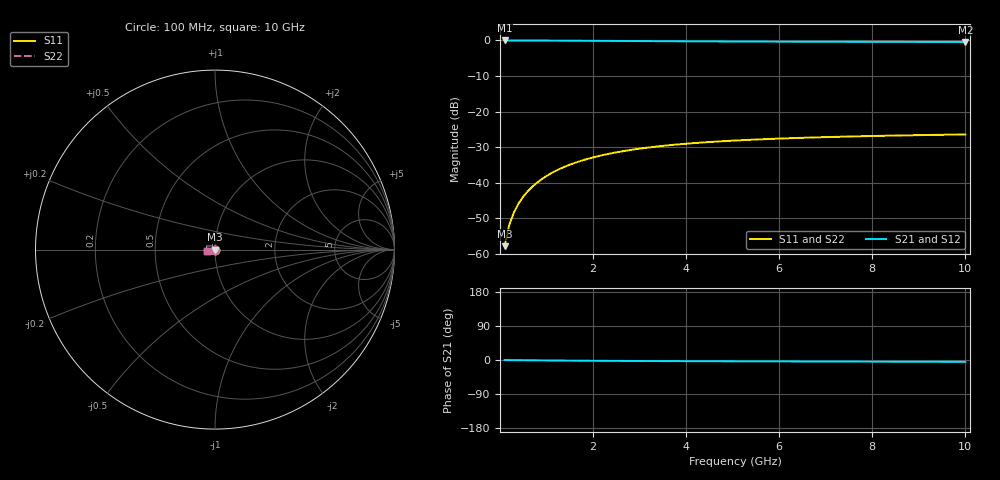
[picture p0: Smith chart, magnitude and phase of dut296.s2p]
! Touchstone file exported from HFSS 2024.1.0
!  File:  C:/UserFiles/LocalFiles/RDL_TSV_Batchsim/temp_TSV1_296_1779394687.aedt
!  Generated:  04:22:26 AM May 22, 2026
!  Design:  TSV1
!  Project:  temp_TSV1_296_1779394687
!  Setup:  Setup1
!  Solution:  Sweep
! Variables:
!  dtsv = 10.68um
!  hbump = 3um
!  htsv = 76.21um
!  lrdl = 252.1521522um
!  p = 40
!  p1 = 45.61um
!  t = 500um
!  trdl = 3um
!  wrdl = 24.89489489um
# GHz S MA R 50.000000
! Terminal data exported
! Port[1] = TSV22_T1
! Port[2] = TSV22_T2
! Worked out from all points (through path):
!   100 points, 100 MHz to 10 GHz, reference 50 ohm
!   highest |S21| = 0.00 dB at 100 MHz (marker M1); lowest = -0.4 dB at 10 GHz (marker M2)
!   lowest |S11| = -57.9 dB at 100 MHz (marker M3), VSWR 1.00, Z = 50 - j0.128 ohm
!   |S11| at or under -10 dB: start of sweep to end of sweep
!   |S22| runs from -57.9 to -26.4 dB; largest |S21 - S12| = 4.5e-15
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0.1  0.001279 -86.0  0.9998 -0.1  0.9998 -0.1  0.001279 -86.0
! Gamma 0 0 0 0
! Port Impedance 50 0 50 0
0.2  0.002551 -90.3  0.9997 -0.2  0.9997 -0.2  0.002551 -90.3
0.3  0.003824 -92.8  0.9995 -0.4  0.9995 -0.4  0.003824 -92.8
0.4  0.005093 -94.9  0.9992 -0.5  0.9992 -0.5  0.005093 -94.9
0.5  0.006354 -96.8  0.9989 -0.6  0.9989 -0.6  0.006354 -96.8
0.6  0.007602 -98.6  0.9985 -0.7  0.9985 -0.7  0.007602 -98.6
0.7  0.008835 -100.4  0.998 -0.8  0.998 -0.8  0.008835 -100.4
0.8  0.01005 -102.1  0.9975 -0.9  0.9975 -0.9  0.01005 -102.1
0.9  0.01124 -103.7  0.9969 -1.0  0.9969 -1.0  0.01124 -103.7
1.1  0.01356 -107.0  0.9957 -1.2  0.9957 -1.2  0.01356 -107.0
1.4  0.01685 -111.6  0.9934 -1.5  0.9934 -1.5  0.01685 -111.6
1.6  0.0189 -114.5  0.9918 -1.7  0.9918 -1.7  0.0189 -114.5
1.8  0.02083 -117.3  0.9901 -1.9  0.9901 -1.9  0.02083 -117.3
2.1  0.02351 -121.3  0.9875 -2.1  0.9875 -2.1  0.02351 -121.3
2.5  0.0267 -126.1  0.984 -2.4  0.984 -2.4  0.0267 -126.1
2.9  0.02946 -130.5  0.9806 -2.6  0.9806 -2.6  0.02946 -130.5
3.4  0.03239 -135.5  0.9767 -2.8  0.9767 -2.8  0.03239 -135.5
4.2  0.03613 -142.3  0.9712 -3.2  0.9712 -3.2  0.03613 -142.3
5.1  0.03928 -148.7  0.9662 -3.5  0.9662 -3.5  0.03928 -148.7
6.7  0.04315 -157.6  0.9596 -3.9  0.9596 -3.9  0.04315 -157.6
8.4  0.04585 -165.0  0.9549 -4.4  0.9549 -4.4  0.04585 -165.0
10  0.04766 -170.7  0.9519 -4.9  0.9519 -4.9  0.04766 -170.7
